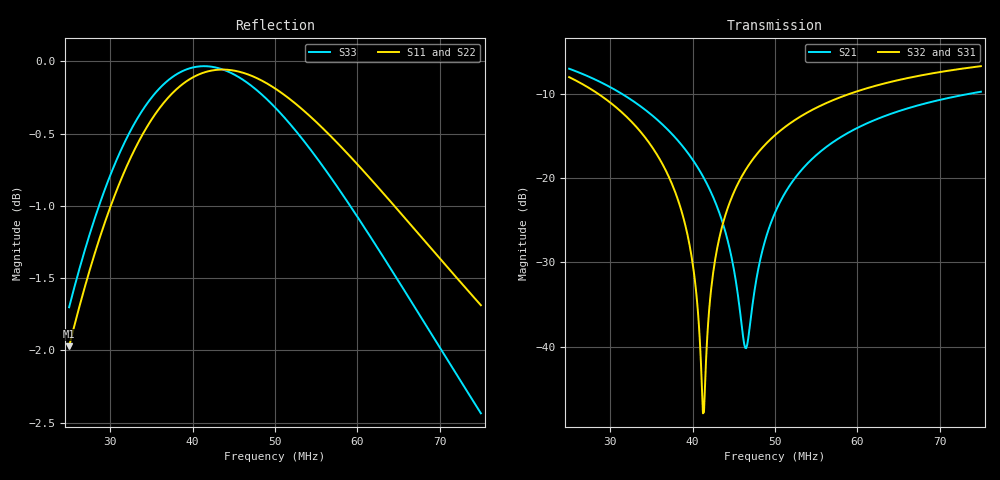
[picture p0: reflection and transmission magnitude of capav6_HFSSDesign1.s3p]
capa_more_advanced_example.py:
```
"""
Adaptation de more_advanced_example.py pour la jonction en croix (capa 3 ports).

Structure physique :
                        port 3 (electrode)
                            |
               [electrode : L=H2_v, Z0=Z0_port3]
                            |
    port 1 --[tigeA]-- noeud central --[tigeB]-- port 2
           L=Hperp_v/2        L=Hperp_v/2
           Z0=Z0_tige          Z0=Z0_tige

Le condensateur COMET n'est PAS dans ce modele : port 3 est ouvert.
"""

import os
os.environ['OPENBLAS_NUM_THREADS'] = '{:d}'.format(2)

import re
import numpy as np
import matplotlib.pyplot as pl

from pyRFtk import rfCircuit, rfObject, rfTRL


# ===========================================================================
# Utilitaires
# ===========================================================================

def readvar(s):
    """Convertit une chaine HFSS ('30mm', '8m', ...) en metres (float)."""
    try:
        val, unit = re.findall(r'([+-]?[0-9]+\.?[0-9]*)([A-Za-z]+)', s)[0]
    except (IndexError, ValueError):
        raise ValueError(f'Impossible de lire {s!r} comme valeur + unite')
    val = float(val)
    if unit == 'mm':
        return val / 1000.0
    elif unit in ('m', 'ohm'):
        return val
    else:
        raise ValueError(f'Unite inconnue : {unit}')


def plotSij_3ports(circuit, fHzs, title='Sij 3 ports'):
    SS = circuit.getS(fHzs)
    n = SS.shape[-1]

    colors = {(0,0):'r',      (0,1):'g',      (0,2):'b',
              (1,0):'m',      (1,1):'c',       (1,2):'k',
              (2,0):'orange', (2,1):'purple',  (2,2):'brown'}

    fig, axes = pl.subplots(n, n, figsize=(9, 7), sharex=True)
    fig.suptitle(title)
    for i in range(n):
        for j in range(n):
            ax = axes[i, j]
            c  = colors.get((i, j), 'k')
            ax.plot(fHzs / 1e6, SS[:, i, j].real,
                    color=c, linestyle='-',  lw=1.2, label='Re')
            ax.plot(fHzs / 1e6, SS[:, i, j].imag,
                    color=c, linestyle='--', lw=1.2, label='Im')
            ax.set_title(f'S$_{{{i+1},{j+1}}}$', fontsize=9)
            ax.set_ylim(-1, 1)
            ax.grid(alpha=0.3)
            if i == n - 1:
                ax.set_xlabel('f [MHz]')
    axes[0, 0].legend(loc='best', fontsize=7)
    fig.tight_layout()
    return fig


# ===========================================================================
# 1. Charger l'export HFSS
# ===========================================================================

PATH_S3P = 'capav6_HFSSDesign1.s3p'
obj = rfObject(touchstone=PATH_S3P)

print("Variables exportees par HFSS :")
for k, v in obj.variables.items():
    print(f"   {k} = {v}")
print()
print(obj)

plotSij_3ports(obj, obj.fs, title='Touchstone HFSS - jonction capa (3 ports)')

print("Variables disponibles :")
for k in obj.variables.keys():
    print(" ", k)


# ===========================================================================
# 2. Extraire les dimensions geometriques
# ===========================================================================

Hperp_v   = readvar(obj.variables['$Hperp_v'])   # longueur totale tige (ports 1-2)
H2_v      = readvar(obj.variables['$H2_v'])       # longueur branche electrode (port 3)
Rperp_c   = readvar(obj.variables['$Rperp_c'])    # rayon conducteur tige
Rperp_v   = readvar(obj.variables['$Rperp_v'])    # rayon vide tige
Rlittle_c = readvar(obj.variables['$Rlittle_c'])  # rayon conducteur electrode
Rint_v    = readvar(obj.variables['$Rint_v'])     # rayon vide electrode

# Impedances caracteristiques : Z0 = 60 * ln(R_ext / R_int)
Z0_tige   = 60.0 * np.log(Rperp_v   / Rperp_c)    # branches 1-2
Z0_port3  = 60.0 * np.log(Rint_v    / Rlittle_c)  # branche 3

print(f"\nDimensions extraites :")
print(f"   Hperp_v   = {Hperp_v*1e3:.1f} mm  (longueur totale tige)")
print(f"   H2_v      = {H2_v*1e3:.1f} mm  (longueur electrode)")
print(f"   Rperp_c   = {Rperp_c*1e3:.1f} mm  | Rperp_v  = {Rperp_v*1e3:.1f} mm")
print(f"   Rlittle_c = {Rlittle_c*1e3:.1f} mm  | Rint_v   = {Rint_v*1e3:.1f} mm")
print(f"\nImpedances calculees :")
print(f"   Z0_tige   = {Z0_tige:.2f} ohm  (a comparer au Port Impedance 1,2 du .s3p)")
print(f"   Z0_port3  = {Z0_port3:.2f} ohm  (a comparer au Port Impedance 3 du .s3p)")


# ===========================================================================
# 3. Reconstruire le circuit avec pyRFtk
#
#              port 3
#                |
#           [electrode]
#                |
# port 1 --[tigeA]--+--[tigeB]-- port 2
#
# ===========================================================================

ct = rfCircuit(Zbase=Z0_tige)

ct.addblock('tigeA',     rfTRL(L=Hperp_v / 2, Z0TL=Z0_tige))
ct.addblock('tigeB',     rfTRL(L=Hperp_v / 2, Z0TL=Z0_tige))
ct.addblock('electrode', rfTRL(L=H2_v,         Z0TL=Z0_port3))

# Noeud central en T
ct.connect('tigeA.2', 'tigeB.1', 'electrode.1')

# Ports externes
ct.connect('tigeA.1',     '1')
ct.connect('tigeB.2',     '2')
ct.connect('electrode.2', '3')

print('\nCircuit pyRFtk :')
print(ct.asstr(-1))

fHzs = np.linspace(25e6, 75e6, 51)
plotSij_3ports(ct, fHzs, title='Reconstruction pyRFtk - jonction capa (3 ports)')


# ===========================================================================
# 4. Comparaison chiffree a 32.5 MHz
# ===========================================================================

f_ref = 32.5e6
S_hfss   = obj.getS(np.array([f_ref]))[0]
S_pyrftk = ct.getS(np.array([f_ref]))[0]

print(f"\n{'='*65}")
print(f"COMPARAISON a f = {f_ref/1e6:.1f} MHz")
print(f"{'='*65}")
print(f"{'Sij':<6} {'|S| HFSS':>12} {'|S| pyRFtk':>12} {'ecart':>10}")
print(f"{'-'*65}")
for i in range(3):
    for j in range(3):
        sh = abs(S_hfss[i, j])
        sp = abs(S_pyrftk[i, j])
        print(f"S{i+1}{j+1}    {sh:>12.4f} {sp:>12.4f} {abs(sh-sp):>10.4f}")

pl.show()
```
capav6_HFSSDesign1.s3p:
! Touchstone file exported from HFSS 2025.2.0
!  File:  C:/Users/32474/OneDrive - UCL/Documents/Ingenieur/MASTER1/Stage/HFSS/capav6.aedt
!  Generated:  03:15:10 PM Jul  8, 2026
!  Design:  HFSSDesign1
!  Project:  capav6
!  Setup:  Setup1
!  Solution:  Sweep
! Variables:
!  $H1_v = 530mm
!  $H2_v = 470mm
!  $H_diel = 6mm
!  $Hbig_c = 413.11mm
!  $Hperp_v = 460mm
!  $MyPermittivity = 9.1
!  $Rbig_c = 86mm
!  $Rext_v = 159.2mm
!  $Rint_v = 76.2mm
!  $Rlittle_c = 33.11mm
!  $Rperp_c = 33.11mm
!  $Rperp_v = 76.2mm
!  $z_diel = 190mm
!  $zperp_v = 380mm
# GHz S MA R 50.000000
! Terminal data exported
! Port[1] = 1
! Port[2] = 2
! Port[3] = 3
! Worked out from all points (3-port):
!   401 points, 25 MHz to 75 MHz, reference 50 ohm
!   strongest paths, dB at 25 MHz, 37.5 MHz, 50 MHz, 62.5 MHz, 75 MHz:
!     S32: -8.0, -20.7, -14.9, -9.0, -6.7
!     S31: -8.0, -20.7, -14.9, -9.0, -6.7
!     S21: -7.0, -14.8, -24.1, -12.9, -9.7
!   lowest |S11| = -2.0 dB at 25 MHz (marker M1), VSWR 8.84, Z = 5.7 - j4.6 ohm
!   |S11| at or under -10 dB: nowhere
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0.025  0.7968 -169.3  0.4462 -65.9  0.3979 -62.4
       0.4462 -65.9  0.7969 -169.4  0.3978 -62.4
       0.3979 -62.4  0.3978 -62.4  0.8221 -168.8
0.037375  0.9739 168.2  0.1853 -99.2  0.09527 -93.9
          0.1853 -99.2  0.9739 168.1  0.09511 -93.9
          0.09527 -93.9  0.09511 -93.9  0.9868 168.4
0.041375  0.9912 160.8  0.09988 -107.0  0.003998 4.1
          0.09988 -107.0  0.9912 160.8  0.004074 6.2
          0.003998 4.1  0.004074 6.2  0.9962 161.1
0.0465  0.9902 152.0  0.009772 -29.7  0.113 60.5
        0.009772 -29.7  0.9902 152.0  0.1132 60.5
        0.113 60.5  0.1132 60.5  0.9837 152.3
0.075  0.8234 117.6  0.3257 3.8  0.4619 16.8
       0.3257 3.8  0.8233 117.5  0.462 16.8
       0.4619 16.8  0.462 16.8  0.7554 119.8
